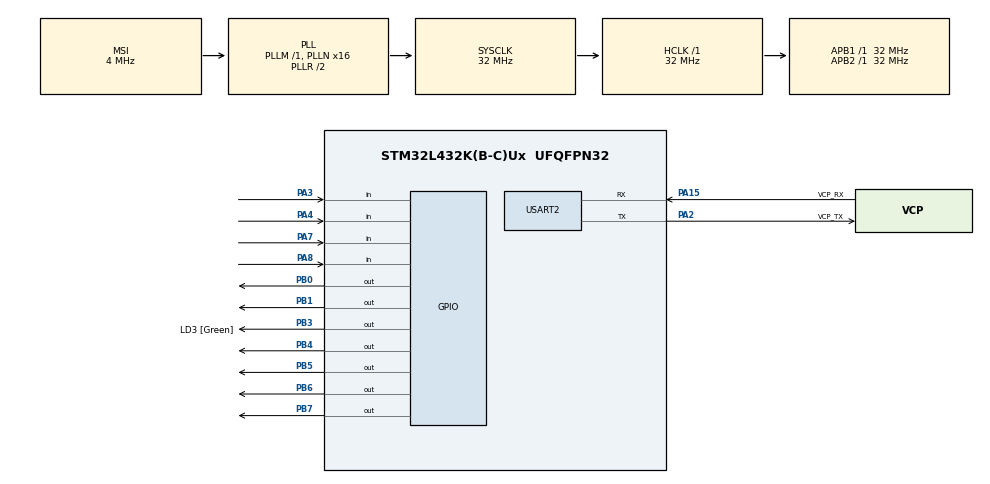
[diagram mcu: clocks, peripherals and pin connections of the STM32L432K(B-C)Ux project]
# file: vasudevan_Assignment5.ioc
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Mcu.Family=STM32L4
Mcu.Name=STM32L432K(B-C)Ux
Mcu.Package=UFQFPN32
NVIC.PriorityGroup=NVIC_PRIORITYGROUP_4
PA0.GPIO_Label=MCO [High speed clock in]
PA0.Mode=HSE-External-Clock-Source-for-LittleOrca
PA0.Signal=RCC_CK_IN
PA13\ (JTMS-SWDIO).GPIO_Label=SWDIO
PA13\ (JTMS-SWDIO).Mode=Serial_Wire
PA13\ (JTMS-SWDIO).Signal=SYS_JTMS-SWDIO
PA14\ (JTCK-SWCLK).GPIO_Label=SWCLK
PA14\ (JTCK-SWCLK).Mode=Serial_Wire
PA14\ (JTCK-SWCLK).Signal=SYS_JTCK-SWCLK
PA15\ (JTDI).GPIO_Label=VCP_RX
PA15\ (JTDI).Mode=Asynchronous
PA15\ (JTDI).Signal=USART2_RX
PA2.GPIO_Label=VCP_TX
PA2.Mode=Asynchronous
PA2.Signal=USART2_TX
PA3.Signal=GPIO_Input
PA4.Signal=GPIO_Input
PA7.Signal=GPIO_Input
PA8.Signal=GPIO_Input
PB0.Signal=GPIO_Output
PB1.Signal=GPIO_Output
PB3\ (JTDO-TRACESWO).GPIO_Label=LD3 [Green]
PB3\ (JTDO-TRACESWO).Signal=GPIO_Output
PB4\ (NJTRST).Signal=GPIO_Output
PB5.Signal=GPIO_Output
PB6.Signal=GPIO_Output
PB7.Signal=GPIO_Output
PC14-OSC32_IN\ (PC14).Mode=LSE-External-Oscillator
PC14-OSC32_IN\ (PC14).Signal=RCC_OSC32_IN
PC15-OSC32_OUT\ (PC15).Mode=LSE-External-Oscillator
PC15-OSC32_OUT\ (PC15).Signal=RCC_OSC32_OUT
ProjectManager.HeapSize=0x200
ProjectManager.StackSize=0x400
ProjectManager.TargetToolchain=STM32CubeIDE
RCC.AHBFreq_Value=32000000
RCC.APB1Freq_Value=32000000
RCC.APB1TimFreq_Value=32000000
RCC.APB2Freq_Value=32000000
RCC.APB2TimFreq_Value=32000000
RCC.CortexFreq_Value=32000000
RCC.HCLKFreq_Value=32000000
RCC.HSE_VALUE=8000000
RCC.HSI16_VALUE=16000000
RCC.HSI48_VALUE=48000000
RCC.HSI_VALUE=16000000
RCC.MSI_VALUE=4000000
RCC.PLLMUL=RCC_PLLMUL_4
RCC.PLLN=16
RCC.SYSCLKFreq_VALUE=32000000
RCC.SYSCLKSource=RCC_SYSCLKSOURCE_PLLCLK
RCC.VCOOutputFreq_Value=64000000
USART2.VirtualMode-Asynchronous=VM_ASYNC
board=NUCLEO-L432KC

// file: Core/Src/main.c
/* USER CODE BEGIN Header */
/**
  ******************************************************************************
  * FILE           : main.c
  * PROJECT        : vasudevan_assignment5
  * PROGRAMMER     : Pranav Manakkulamparambil Vasudevan
  * FIRST VERSION  : 2020-04-22
  * DESCRIPTION    : Code for implementing a GPS data retrieval and processing
                     system. Which tokenizes a given gps data and display time,
                     latitude,longitude and altitude.
  ******************************************************************************
  * @attention
  *
  * <h2><center>&copy; Copyright (c) 2020 STMicroelectronics.
  * All rights reserved.</center></h2>
  *
  * This software component is licensed by ST under BSD 3-Clause license,
  * the "License"; You may not use this file except in compliance with the
  * License. You may obtain a copy of the License at:
  *                        opensource.org/licenses/BSD-3-Clause
  *
  ******************************************************************************
  */
/* USER CODE END Header */

#include "main.h"
#include "stdio.h"//library for printf and scanf
#include "debounce.h"//library for debounce
#include "string.h"//library for string functions
#include "stdlib.h"//standard library for atoi and atof

UART_HandleTypeDef huart2;

void SystemClock_Config(void);
static void MX_GPIO_Init(void);
static void MX_USART2_UART_Init(void);

/* USER CODE BEGIN 0 */

char stringBuffer[16]= {0}; // string value for sprintf function for the lcd
//the integers to store the time values
int16_t hour=0;
int16_t minute=0;
float second=0;//float variable to store second
//integers to store the latitude values
int16_t latDeg=0;
int16_t latMin=0;
int16_t latDec=0;
//integers to store the longitude values
int16_t longDeg=0;
int16_t longMin=0;
int16_t longDec=0;
float alti=0;//float variable to store altitude
//sub-strings to store the utc time
 char utcTimehour[10];
 char utcTimeminute[10];
 char utcTimesecond[10];
 //sub-strings to store the latitude
 char latDegree[10];
 char latMinutes[10];
 char latDecimal[10];
 //sub-strings to store the longitude
 char longDegree[10];
 char longMinutes[10];
 char longDecimal[10];

 /*FUNCTION   :void printRetrieve()
  * DESCRIPTION: function for printing the retrieve message on lcd and putty
  * PARAMETERS : Nothing
  * RETURNS    : Nothing
  */
void printRetrieve()
{
	HD44780_Init(); // initializing lcd
	HD44780_PutStr("Retrieving Data..");
	printf("Retrieving Data\r\n");
}
/*FUNCTION   :void printProcess()
  * DESCRIPTION: function for printing the process message on lcd and putty
  * PARAMETERS : Nothing
  * RETURNS    : Nothing
  */
void printProcess()
{
	HD44780_ClrScr(); //clear lcd
	HD44780_PutStr("Processing Data..");
	printf("Processing Data...\r\n");
	HAL_Delay(5000);
}
/*FUNCTION   :void printTask()
  * DESCRIPTION: function for printing the task message on lcd and putty
  * PARAMETERS : Nothing
  * RETURNS    : Nothing
  */
void printTask()
{
	HD44780_ClrScr(); //clear lcd
	HD44780_PutStr("1:Time");
	HD44780_GotoXY(7, 0);
	HD44780_PutStr("2:Latitu");
	HD44780_GotoXY(0, 1);
	HD44780_PutStr("3:Longi");
	HD44780_GotoXY(8, 1);
	HD44780_PutStr("4:Altitu");
	printf("1)Time\t2)Latitu\r\n");
	printf("3)Longi\t4)Altitu\r\n");
}
/*FUNCTION   :void printTask()
  * DESCRIPTION: function for printing the Time is hours,minute
                 and second format on lcd and Putty.
  * PARAMETERS : stringBuffer[16],hour,minute,second
  * RETURNS    : Nothing
  */
void printTime(char stringBuffer[16], int16_t hour, int16_t minute,
		float second)
{
	HD44780_ClrScr(); //clear lcd
	HD44780_PutStr("Time:");
	HD44780_GotoXY(0, 1);
	sprintf(stringBuffer, "%02dh", hour);
	HD44780_PutStr(stringBuffer); // string buffer value
	HD44780_GotoXY(4, 1);
	sprintf(stringBuffer, "%02dm", minute);
	HD44780_PutStr(stringBuffer); // string buffer value
	HD44780_GotoXY(8, 1);
	sprintf(stringBuffer, "%.2fs", second);
	HD44780_PutStr(stringBuffer); // string buffer value
	printf("Time:\r\n%02dh %02dm %.2fs\r\n", hour, minute, second);
}
/*FUNCTION   :void printLatitude()
  * DESCRIPTION: function for printing the latitude in degree,minute and
                 decimal degrees on lcd and putty
  * PARAMETERS : stringBuffer[16],latDeg,latMin,latDec
  * RETURNS    : Nothing
  */
void printLatitude(char stringBuffer[16], int16_t latDeg, int16_t latMin,
		int16_t latDec)
{
	HD44780_ClrScr(); //clear lcd
	HD44780_PutStr("Latitude:");
	HD44780_GotoXY(0, 1);
	sprintf(stringBuffer, "%02dd", latDeg);
	HD44780_PutStr(stringBuffer); // string buffer value
	HD44780_GotoXY(4, 1);
	sprintf(stringBuffer, "%02dm", latMin);
	HD44780_PutStr(stringBuffer); // string buffer value
	HD44780_GotoXY(8, 1);
	sprintf(stringBuffer, "%04ddd", latDec);
	HD44780_PutStr(stringBuffer); // string buffer value
	printf("Latitude:\r\n%02dd %02dm %04ddd\r\n", latDeg, latMin, latDec);
}

/*FUNCTION   :void printLongitude()
  * DESCRIPTION: function for printing the longitude in degree,minute and
                 decimal degrees on lcd and putty
  * PARAMETERS : stringBuffer,longDeg,longMin,longDec
  * RETURNS    : Nothing
  */
void printLongitude(char stringBuffer[16], int16_t longDeg, int16_t longMin,
		int16_t longDec)
{
	HD44780_ClrScr(); //clear lcd
	HD44780_PutStr("Longitude:");
	HD44780_GotoXY(0, 1);
	sprintf(stringBuffer, "%03dd", longDeg);
	HD44780_PutStr(stringBuffer); // string buffer value
	HD44780_GotoXY(5, 1);
	sprintf(stringBuffer, "%02dm", longMin);
	HD44780_PutStr(stringBuffer); // string buffer value
	HD44780_GotoXY(9, 1);
	sprintf(stringBuffer, "%04ddd", longDec);
	HD44780_PutStr(stringBuffer); // string buffer value
	printf("Longitude:\r\n%03dd %02dm %04ddd\r\n", longDeg, longMin, longDec);
}
/*FUNCTION   :void printLongitude()
  * DESCRIPTION: function for printing the altitude in degree,minute and
                 decimal degrees on lcd and putty
  * PARAMETERS : stringBuffer,alti
  * RETURNS    : Nothing
  */
void printAltitude(char stringBuffer[16], float alti)
{
	HD44780_ClrScr(); //clear lcd
	HD44780_PutStr("Altitude:");
	HD44780_GotoXY(0, 1);
	sprintf(stringBuffer, "%.3fmeter", alti);
	HD44780_PutStr(stringBuffer); // string buffer value
	printf("Altitude:\r\n%.3fmeter\r\n", alti);
}

/* USER CODE END 0 */

int main(void)
{
  /* USER CODE BEGIN 1 */
	//setting up GPIO pins
		uint16_t pin= GPIO_PIN_3;//button for 1
		uint16_t pin2= GPIO_PIN_4;//button for 2
		uint16_t pin3= GPIO_PIN_7;//button for 3
		uint16_t pin4= GPIO_PIN_8;//button for 4

		char port= 'A';//setting port
		int8_t mode = 0;//setting mode
		//initializing ports
		int8_t pA3=1;
		int8_t pA4=1;
		int8_t pA7=1;
		int8_t pA8=1;
		//initializing the debounce
		deBounceInit( pin, port, mode);
		deBounceInit2( pin2, port, mode);
		deBounceInit3( pin3, port, mode);
		deBounceInit4( pin4, port, mode);
		//the flag variables to remain in the state
		int16_t flag1=0;
		int16_t flag2=0;
		int16_t flag3=0;
		int16_t flag4=0;

		char stringGps[256];//string for gps data
        char * strData=NULL;//pointer whihch points to the stringGps
	    char *delim=",";//delimeter
	    //strings for tokenization of gps data.
	    char *sentenceId=NULL;
        char *utcTime=NULL;
        char *latitude=NULL;
    	  char *latMeasured=NULL;
    	  char *longitude=NULL;
    	  char *longMeasured=NULL;
    	  char *posFix=NULL;
    	  char *satUsed=NULL;
    	  char *hdop =NULL;
    	  char *altitude=NULL;
    	  char *altUnit=NULL;
    	  char *geoId=NULL;
    	  char *geoUnint=NULL;
    	  char *dgpsAge=NULL;
    	  char *checkSum=NULL;

	int16_t state=0;//argument for switch
	int16_t count=1;//counter for assigning the tokenized string into corresponding string

  /* USER CODE END 1 */

  /* MCU Configuration--------------------------------------------------------*/

  /* Reset of all peripherals, Initializes the Flash interface and the Systick. */
  HAL_Init();

  /* Configure the system clock */
  SystemClock_Config();

  /* Initialize all configured peripherals */
  MX_GPIO_Init();
  MX_USART2_UART_Init();

  /* Infinite loop */
  /* USER CODE BEGIN WHILE */
  while (1)
  {
	  if(flag1==0)//checking the flag value to run the following code only once
	  {
	  printRetrieve();//print retrieve data
	  scanf( "%s",&stringGps);//scaning gps data
	  printProcess();//print process data
	  //tokenising all possible tokens in the dps data where ',' is the delimeter
	  for (strData = strtok(stringGps, delim); strData; strData = strtok(NULL, delim))
	  {
		  if(count==2)//storing time value
		  {
		    utcTime=strData;
		  }
		  else if (count==3)//storing latitude
		  {
			latitude=strData;
		  }
		  else if (count==5)//storing longitude
		  {
		   longitude=strData;
		  }
		  else if (count==10)//storing altitude
		  {
		   altitude=strData;
		  }
	      count=count+1;//increment count
	  }
	  state=1;//changing state
	  flag1=1;//changing flag value to skip the above code next time

	  }

//swithc with state as argument to get the input from the button and
//show corresponding output
	  switch(state)
	  {

	  case 1:
			printTask();//function call to print task to selected
			state=2;
	  case 2:
    //reading input from all 4 buttons continously until anyone of these is pressed
	pA3 = deBounceReadPin(pin, port, mode);
	pA4 = deBounceReadPin2(pin2, port, mode);
	pA7 = deBounceReadPin3(pin3, port, mode);
	pA8 = deBounceReadPin4(pin4, port, mode);
	if(pA3==0)//when button 1 pressed execute following code
	{
		  printf("utc time is %s\r\n",utcTime);//printing the tokenised string for time
		  //making substrings of individual data using string copying function
		  strncpy(utcTimehour,utcTime,2);//
		  utcTimehour[2]='\0';//setting null character
		  strncpy(utcTimeminute,utcTime+2,2);
		  utcTimeminute[2]='\0';//setting null character
		  strncpy(utcTimesecond,utcTime+4,5);
          utcTimesecond[5]='\0';//setting null character
          hour=atoi(utcTimehour);//to conver to integer
          minute=atoi(utcTimeminute);//to conver to integer
          second=atof(utcTimesecond);//convert the string into float
		  printTime(stringBuffer, hour, minute, second);//function call to print time data
          state=1;//state chage
      	  HAL_Delay(5000);
          break;
	}

	else if(pA4==0)//when button 2 pressed execute following code
	{
		  printf("latitude is %s\r\n",latitude);
		  //making substrings of individual data using string copying function
		  strncpy(latDegree,latitude,2);
		  latDegree[2]='\0';
		  strncpy(latMinutes,latitude+2,2);
		  latMinutes[2]='\0';
		  strncpy(latDecimal,latitude+5,4);
		  latDecimal[4]='\0';
          latDeg=atoi(latDegree);//to convert to integer
          latMin=atoi(latMinutes);//to convert to integer
          latDec=atoi(latDecimal);//to convert to integer
		  printLatitude(stringBuffer, latDeg, latMin, latDec);//function call to print latitude data
	      state=1;//state change
      	  HAL_Delay(5000);
	      break;
	}
	else if(pA7==0)//when button 3 pressed execute following code
	{
	 printf("longitude is %s\r\n",longitude);
	 //making substrings of individual data using string copying function
	 strncpy(longDegree,longitude,3);
	 longDegree[3]='\0';
	 strncpy(longMinutes,longitude+3,2);
	 longMinutes[2]='\0';
	 strncpy(longDecimal,longitude+6,4);
	 longDecimal[4]='\0';
	 longDeg=atoi(longDegree);//to convert to integer
	 longMin=atoi(longMinutes);//to convert to integer
     longDec=atoi(longDecimal);//to convert to integer
	 printLongitude(stringBuffer, longDeg, longMin, longDec);//function call to print longitude data
	 state=1;//state chage
	 HAL_Delay(5000);
	 break;
	}
	else if(pA8==0)//when button 4 pressed execute following code
	{
	 printf("altitude is %s\r\n",altitude);
	 alti=atof(altitude);//convert the string into float
	 printAltitude(stringBuffer, alti);
	 state=1;//state chage
	 HAL_Delay(5000);
	 break;
	}
	state=2;//calling the same state
	break;
}
    /* USER CODE END WHILE */

  }
}

void SystemClock_Config(void)
{
  RCC_OscInitTypeDef RCC_OscInitStruct = {0};
  RCC_ClkInitTypeDef RCC_ClkInitStruct = {0};
  RCC_PeriphCLKInitTypeDef PeriphClkInit = {0};

  /** Configure LSE Drive Capability
  */
  HAL_PWR_EnableBkUpAccess();
  __HAL_RCC_LSEDRIVE_CONFIG(RCC_LSEDRIVE_LOW);
  /** Initializes the CPU, AHB and APB busses clocks
  */
  RCC_OscInitStruct.OscillatorType = RCC_OSCILLATORTYPE_LSE|RCC_OSCILLATORTYPE_MSI;
  RCC_OscInitStruct.LSEState = RCC_LSE_ON;
  RCC_OscInitStruct.MSIState = RCC_MSI_ON;
  RCC_OscInitStruct.MSICalibrationValue = 0;
  RCC_OscInitStruct.MSIClockRange = RCC_MSIRANGE_6;
  RCC_OscInitStruct.PLL.PLLState = RCC_PLL_ON;
  RCC_OscInitStruct.PLL.PLLSource = RCC_PLLSOURCE_MSI;
  RCC_OscInitStruct.PLL.PLLM = 1;
  RCC_OscInitStruct.PLL.PLLN = 16;
  RCC_OscInitStruct.PLL.PLLP = RCC_PLLP_DIV7;
  RCC_OscInitStruct.PLL.PLLQ = RCC_PLLQ_DIV2;
  RCC_OscInitStruct.PLL.PLLR = RCC_PLLR_DIV2;
  if (HAL_RCC_OscConfig(&RCC_OscInitStruct) != HAL_OK)
  {
    Error_Handler();
  }
  /** Initializes the CPU, AHB and APB busses clocks
  */
  RCC_ClkInitStruct.ClockType = RCC_CLOCKTYPE_HCLK|RCC_CLOCKTYPE_SYSCLK
                              |RCC_CLOCKTYPE_PCLK1|RCC_CLOCKTYPE_PCLK2;
  RCC_ClkInitStruct.SYSCLKSource = RCC_SYSCLKSOURCE_PLLCLK;
  RCC_ClkInitStruct.AHBCLKDivider = RCC_SYSCLK_DIV1;
  RCC_ClkInitStruct.APB1CLKDivider = RCC_HCLK_DIV1;
  RCC_ClkInitStruct.APB2CLKDivider = RCC_HCLK_DIV1;

  if (HAL_RCC_ClockConfig(&RCC_ClkInitStruct, FLASH_LATENCY_1) != HAL_OK)
  {
    Error_Handler();
  }
  PeriphClkInit.PeriphClockSelection = RCC_PERIPHCLK_USART2;
  PeriphClkInit.Usart2ClockSelection = RCC_USART2CLKSOURCE_PCLK1;
  if (HAL_RCCEx_PeriphCLKConfig(&PeriphClkInit) != HAL_OK)
  {
    Error_Handler();
  }
  /** Configure the main internal regulator output voltage
  */
  if (HAL_PWREx_ControlVoltageScaling(PWR_REGULATOR_VOLTAGE_SCALE1) != HAL_OK)
  {
    Error_Handler();
  }
  /** Enable MSI Auto calibration
  */
  HAL_RCCEx_EnableMSIPLLMode();
}

static void MX_USART2_UART_Init(void)
{

  huart2.Instance = USART2;
  huart2.Init.BaudRate = 115200;
  huart2.Init.WordLength = UART_WORDLENGTH_8B;
  huart2.Init.StopBits = UART_STOPBITS_1;
  huart2.Init.Parity = UART_PARITY_NONE;
  huart2.Init.Mode = UART_MODE_TX_RX;
  huart2.Init.HwFlowCtl = UART_HWCONTROL_NONE;
  huart2.Init.OverSampling = UART_OVERSAMPLING_16;
  huart2.Init.OneBitSampling = UART_ONE_BIT_SAMPLE_DISABLE;
  huart2.AdvancedInit.AdvFeatureInit = UART_ADVFEATURE_NO_INIT;
  if (HAL_UART_Init(&huart2) != HAL_OK)
  {
    Error_Handler();
  }

}

static void MX_GPIO_Init(void)
{
  GPIO_InitTypeDef GPIO_InitStruct = {0};

  /* GPIO Ports Clock Enable */
  __HAL_RCC_GPIOC_CLK_ENABLE();
  __HAL_RCC_GPIOA_CLK_ENABLE();
  __HAL_RCC_GPIOB_CLK_ENABLE();

  /*Configure GPIO pin Output Level */
  HAL_GPIO_WritePin(GPIOB, GPIO_PIN_0|GPIO_PIN_1|LD3_Pin|GPIO_PIN_4
                          |GPIO_PIN_5|GPIO_PIN_6|GPIO_PIN_7, GPIO_PIN_RESET);

  /*Configure GPIO pins : PA3 PA4 PA7 PA8 */
  GPIO_InitStruct.Pin = GPIO_PIN_3|GPIO_PIN_4|GPIO_PIN_7|GPIO_PIN_8;
  GPIO_InitStruct.Mode = GPIO_MODE_INPUT;
  GPIO_InitStruct.Pull = GPIO_NOPULL;
  HAL_GPIO_Init(GPIOA, &GPIO_InitStruct);

  /*Configure GPIO pins : PB0 PB1 LD3_Pin PB4
                           PB5 PB6 PB7 */
  GPIO_InitStruct.Pin = GPIO_PIN_0|GPIO_PIN_1|LD3_Pin|GPIO_PIN_4
                          |GPIO_PIN_5|GPIO_PIN_6|GPIO_PIN_7;
  GPIO_InitStruct.Mode = GPIO_MODE_OUTPUT_PP;
  GPIO_InitStruct.Pull = GPIO_NOPULL;
  GPIO_InitStruct.Speed = GPIO_SPEED_FREQ_LOW;
  HAL_GPIO_Init(GPIOB, &GPIO_InitStruct);

}

void Error_Handler(void)
{
}

/************************ (C) COPYRIGHT STMicroelectronics *****END OF FILE****/
